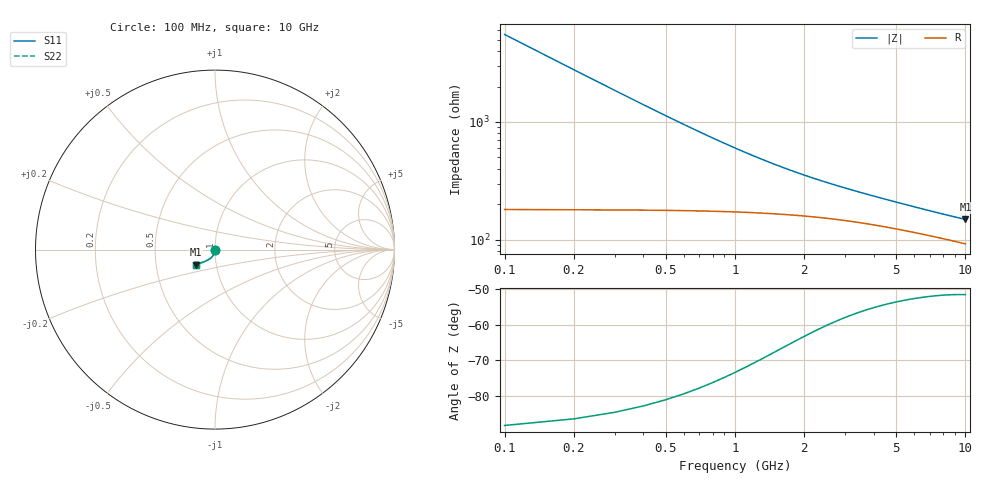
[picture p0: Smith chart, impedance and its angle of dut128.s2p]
! Touchstone file exported from HFSS 2024.1.0
!  File:  C:/UserFiles/LocalFiles/RDL_TSV_Batchsim/temp_TSV1_128_1778753780.aedt
!  Generated:  06:20:44 PM May 14, 2026
!  Design:  TSV1
!  Project:  temp_TSV1_128_1778753780
!  Setup:  Setup1
!  Solution:  Sweep
! Variables:
!  dtsv = 24.2um
!  hbump = 3um
!  htsv = 98.79um
!  lrdl = 252.1521522um
!  p = 40
!  p1 = 55.82um
!  t = 500um
!  trdl = 3um
!  wrdl = 24.89489489um
# GHz S MA R 50.000000
! Terminal data exported
! Port[1] = TSV22_T1
! Port[2] = TSV22_T2
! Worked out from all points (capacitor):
!   100 points, 100 MHz to 10 GHz, reference 50 ohm
!   read as one part in shunt: C = 287 fF near 100 MHz
!   lowest |Z| = 149 ohm at 10 GHz (marker M1)
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0.1  0.004202 -91.1  0.9998 -0.3  0.9998 -0.3  0.004202 -91.1
! Gamma 0 0 0 0
! Port Impedance 50 0 50 0
0.2  0.008378 -93.7  0.9993 -0.6  0.9993 -0.6  0.008378 -93.7
0.3  0.0125 -96.0  0.9985 -0.8  0.9985 -0.8  0.0125 -96.0
0.4  0.01656 -98.2  0.9974 -1.1  0.9974 -1.1  0.01656 -98.2
0.5  0.02052 -100.3  0.9961 -1.3  0.9961 -1.3  0.02052 -100.3
0.6  0.02437 -102.3  0.9945 -1.6  0.9945 -1.6  0.02437 -102.3
0.7  0.02809 -104.2  0.9928 -1.8  0.9928 -1.8  0.02809 -104.2
0.8  0.03168 -106.0  0.991 -2.0  0.991 -2.0  0.03168 -106.0
0.9  0.03513 -107.8  0.9891 -2.2  0.9891 -2.2  0.03513 -107.8
1.1  0.04158 -111.0  0.985 -2.6  0.985 -2.6  0.04158 -111.0
1.4  0.05016 -115.3  0.9788 -3.1  0.9788 -3.1  0.05016 -115.3
1.6  0.05522 -117.8  0.9748 -3.3  0.9748 -3.3  0.05522 -117.8
1.8  0.0598 -120.0  0.9709 -3.6  0.9709 -3.6  0.0598 -120.0
2.1  0.06591 -122.8  0.9654 -3.9  0.9654 -3.9  0.06591 -122.8
2.5  0.07293 -125.8  0.9587 -4.2  0.9587 -4.2  0.07293 -125.8
2.9  0.07898 -128.2  0.9528 -4.6  0.9528 -4.6  0.07898 -128.2
3.4  0.08557 -130.5  0.9464 -4.9  0.9464 -4.9  0.08558 -130.5
4.2  0.0946 -133.3  0.9376 -5.4  0.9376 -5.4  0.0946 -133.3
5.1  0.1032 -135.5  0.9293 -5.9  0.9293 -5.9  0.1032 -135.5
6.7  0.1159 -138.3  0.9174 -6.7  0.9174 -6.7  0.1159 -138.3
8.4  0.1267 -140.2  0.9075 -7.5  0.9075 -7.5  0.1267 -140.2
10  0.1354 -141.5  0.8999 -8.2  0.8999 -8.2  0.1354 -141.5
